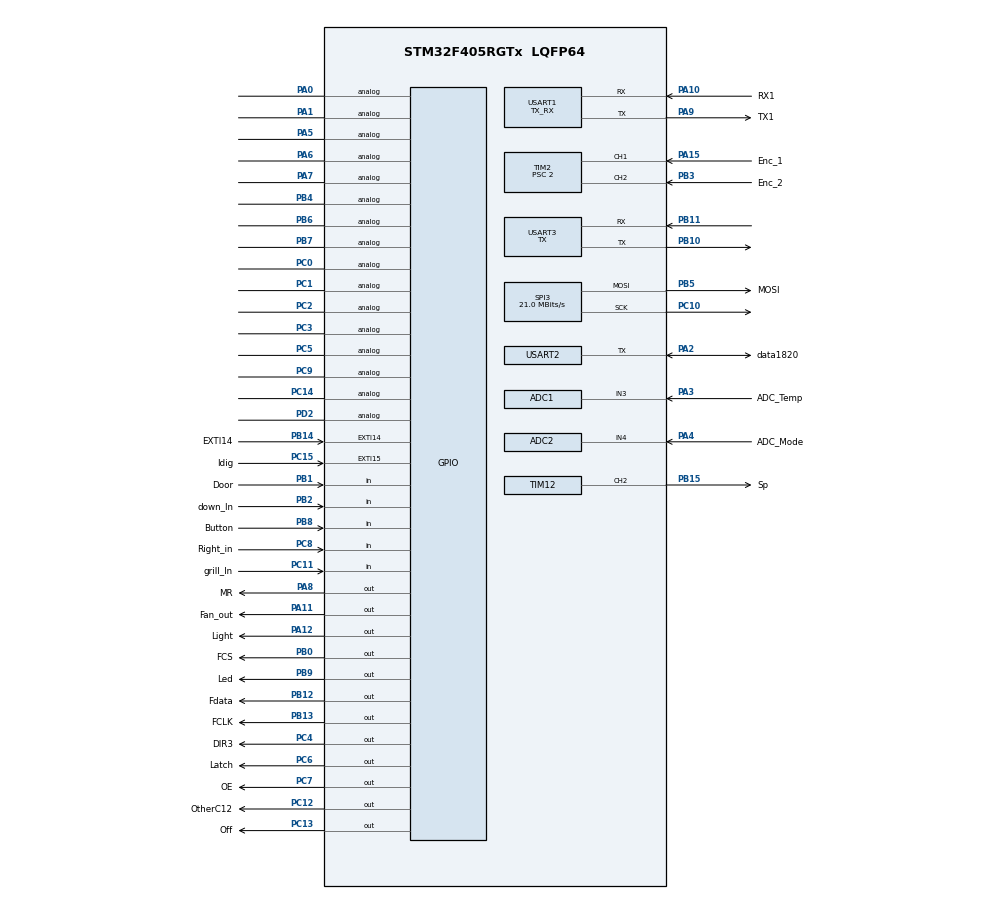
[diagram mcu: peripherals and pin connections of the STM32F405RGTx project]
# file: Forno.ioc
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ADC1.Channel-0\#ChannelRegularConversion=ADC_CHANNEL_3
ADC1.Channel-1\#ChannelRegularConversion=ADC_CHANNEL_VREFINT
ADC1.ClockPrescaler=ADC_CLOCK_SYNC_PCLK_DIV6
ADC1.ContinuousConvMode=DISABLE
ADC1.DMAContinuousRequests=ENABLE
ADC1.EOCSelection=ADC_EOC_SEQ_CONV
ADC1.ExternalTrigConv=ADC_EXTERNALTRIGCONV_T3_TRGO
ADC1.InjNumberOfConversion=0
ADC1.NbrOfConversion=2
ADC1.NbrOfConversionFlag=1
ADC1.Rank-0\#ChannelRegularConversion=1
ADC1.Rank-1\#ChannelRegularConversion=2
ADC1.SamplingTime-0\#ChannelRegularConversion=ADC_SAMPLETIME_84CYCLES
ADC1.SamplingTime-1\#ChannelRegularConversion=ADC_SAMPLETIME_84CYCLES
ADC1.ScanConvMode=ENABLE
ADC1.master=1
ADC2.Channel-3\#ChannelRegularConversion=ADC_CHANNEL_4
ADC2.ClockPrescaler=ADC_CLOCK_SYNC_PCLK_DIV6
ADC2.NbrOfConversionFlag=1
ADC2.Rank-3\#ChannelRegularConversion=1
ADC2.SamplingTime-3\#ChannelRegularConversion=ADC_SAMPLETIME_84CYCLES
ADC2.ScanConvMode=ENABLE
Dma.ADC1.0.Direction=DMA_PERIPH_TO_MEMORY
Dma.ADC1.0.FIFOMode=DMA_FIFOMODE_DISABLE
Dma.ADC1.0.Instance=DMA2_Stream0
Dma.ADC1.0.MemDataAlignment=DMA_MDATAALIGN_WORD
Dma.ADC1.0.MemInc=DMA_MINC_ENABLE
Dma.ADC1.0.Mode=DMA_CIRCULAR
Dma.ADC1.0.PeriphDataAlignment=DMA_PDATAALIGN_WORD
Dma.ADC1.0.PeriphInc=DMA_PINC_DISABLE
Dma.ADC1.0.Priority=DMA_PRIORITY_MEDIUM
Dma.Request0=ADC1
Dma.Request1=USART3_TX
Dma.USART3_TX.1.Direction=DMA_MEMORY_TO_PERIPH
Dma.USART3_TX.1.FIFOMode=DMA_FIFOMODE_DISABLE
Dma.USART3_TX.1.Instance=DMA1_Stream3
Dma.USART3_TX.1.MemDataAlignment=DMA_MDATAALIGN_BYTE
Dma.USART3_TX.1.MemInc=DMA_MINC_ENABLE
Dma.USART3_TX.1.Mode=DMA_NORMAL
Dma.USART3_TX.1.PeriphDataAlignment=DMA_PDATAALIGN_BYTE
Dma.USART3_TX.1.PeriphInc=DMA_PINC_DISABLE
Dma.USART3_TX.1.Priority=DMA_PRIORITY_LOW
Mcu.Family=STM32F4
Mcu.Name=STM32F405RGTx
Mcu.Package=LQFP64
NVIC.DMA1_Stream3_IRQn=true\:3\:3\:true\:false\:true\:false\:true\:true
NVIC.DMA2_Stream0_IRQn=true\:1\:2\:true\:false\:true\:false\:true\:true
NVIC.EXTI15_10_IRQn=true\:2\:2\:true\:false\:true\:true\:true\:true
NVIC.PriorityGroup=NVIC_PRIORITYGROUP_2
NVIC.TIM1_UP_TIM10_IRQn=true\:1\:0\:true\:false\:true\:true\:true\:true
NVIC.TIM2_IRQn=true\:0\:0\:false\:false\:true\:true\:true\:true
NVIC.TIM5_IRQn=true\:2\:3\:true\:false\:true\:true\:true\:true
NVIC.TIM6_DAC_IRQn=true\:2\:1\:true\:false\:true\:true\:true\:true
NVIC.TIM7_IRQn=true\:0\:0\:false\:false\:true\:true\:true\:true
NVIC.USART1_IRQn=true\:2\:0\:true\:false\:true\:true\:true\:true
NVIC.USART2_IRQn=true\:1\:2\:true\:false\:true\:true\:true\:true
NVIC.USART3_IRQn=true\:3\:3\:true\:false\:true\:true\:true\:true
PA0-WKUP.Signal=GPIO_Analog
PA1.Signal=GPIO_Analog
PA10.GPIO_Label=RX1
PA10.Mode=Asynchronous
PA10.Signal=USART1_RX
PA11.GPIO_Label=Fan_out
PA11.GPIO_ModeDefaultOutputPP=GPIO_MODE_OUTPUT_PP
PA11.GPIO_PuPd=GPIO_PULLDOWN
PA11.GPIO_Speed=GPIO_SPEED_FREQ_LOW
PA11.PinState=GPIO_PIN_RESET
PA11.Signal=GPIO_Output
PA12.GPIO_Label=Light
PA12.GPIO_PuPd=GPIO_PULLDOWN
PA12.GPIO_Speed=GPIO_SPEED_FREQ_LOW
PA12.PinState=GPIO_PIN_RESET
PA12.Signal=GPIO_Output
PA13.GPIO_Label=SWDIO
PA13.Mode=Serial_Wire
PA13.Signal=SYS_JTMS-SWDIO
PA14.GPIO_Label=SWCLK
PA14.Mode=Serial_Wire
PA14.Signal=SYS_JTCK-SWCLK
PA15.GPIO_Label=Enc_1
PA15.GPIO_ModeDefaultPP=GPIO_MODE_AF_PP
PA15.GPIO_PuPd=GPIO_NOPULL
PA15.GPIO_Speed=GPIO_SPEED_FREQ_LOW
PA15.Signal=S_TIM2_CH1_ETR
PA2.GPIO_Label=data1820
PA2.Mode=Half_duplex(single_wire_mode)
PA2.Signal=USART2_TX
PA3.GPIO_Label=ADC_Temp
PA3.Signal=ADCx_IN3
PA4.GPIO_Label=ADC_Mode
PA4.Signal=ADCx_IN4
PA5.Signal=GPIO_Analog
PA6.Signal=GPIO_Analog
PA7.Signal=GPIO_Analog
PA8.GPIO_Label=MR
PA8.GPIO_PuPd=GPIO_NOPULL
PA8.GPIO_Speed=GPIO_SPEED_FREQ_MEDIUM
PA8.PinState=GPIO_PIN_RESET
PA8.Signal=GPIO_Output
PA9.GPIO_Label=TX1
PA9.Mode=Asynchronous
PA9.Signal=USART1_TX
PB0.GPIO_Label=FCS
PB0.GPIO_ModeDefaultOutputPP=GPIO_MODE_OUTPUT_OD
PB0.GPIO_PuPd=GPIO_NOPULL
PB0.GPIO_Speed=GPIO_SPEED_FREQ_VERY_HIGH
PB0.PinState=GPIO_PIN_SET
PB0.Signal=GPIO_Output
PB1.GPIO_Label=Door
PB1.Signal=GPIO_Input
PB10.Mode=Asynchronous
PB10.Signal=USART3_TX
PB11.Mode=Asynchronous
PB11.Signal=USART3_RX
PB12.GPIO_Label=Fdata
PB12.GPIO_ModeDefaultOutputPP=GPIO_MODE_OUTPUT_OD
PB12.GPIO_PuPd=GPIO_PULLUP
PB12.GPIO_Speed=GPIO_SPEED_FREQ_VERY_HIGH
PB12.PinState=GPIO_PIN_RESET
PB12.Signal=GPIO_Output
PB13.GPIO_Label=FCLK
PB13.GPIO_ModeDefaultOutputPP=GPIO_MODE_OUTPUT_OD
PB13.GPIO_PuPd=GPIO_NOPULL
PB13.GPIO_Speed=GPIO_SPEED_FREQ_VERY_HIGH
PB13.Signal=GPIO_Output
PB14.GPIO_Label=EXTI14
PB14.Signal=GPXTI14
PB15.GPIO_Label=Sp
PB15.Signal=S_TIM12_CH2
PB2.GPIO_Label=down_In
PB2.Signal=GPIO_Input
PB3.GPIO_Label=Enc_2
PB3.Signal=S_TIM2_CH2
PB4.Signal=GPIO_Analog
PB5.GPIO_Label=MOSI
PB5.Mode=TX_Only_Simplex_Unidirect_Master
PB5.Signal=SPI3_MOSI
PB6.Signal=GPIO_Analog
PB7.Signal=GPIO_Analog
PB8.GPIO_Label=Button
PB8.Signal=GPIO_Input
PB9.GPIO_Label=Led
PB9.Signal=GPIO_Output
PC0.Signal=GPIO_Analog
PC1.Signal=GPIO_Analog
PC10.Mode=TX_Only_Simplex_Unidirect_Master
PC10.Signal=SPI3_SCK
PC11.GPIO_Label=grill_In
PC11.Signal=GPIO_Input
PC12.GPIO_Label=OtherC12
PC12.PinState=GPIO_PIN_SET
PC12.Signal=GPIO_Output
PC13-ANTI_TAMP.GPIO_Label=Off
PC13-ANTI_TAMP.GPIO_PuPd=GPIO_PULLDOWN
PC13-ANTI_TAMP.Signal=GPIO_Output
PC14-OSC32_IN.Signal=GPIO_Analog
PC15-OSC32_OUT.GPIO_Label=Idig
PC15-OSC32_OUT.Signal=GPXTI15
PC2.Signal=GPIO_Analog
PC3.Signal=GPIO_Analog
PC4.GPIO_Label=DIR3
PC4.GPIO_PuPd=GPIO_PULLUP
PC4.GPIO_Speed=GPIO_SPEED_FREQ_HIGH
PC4.PinState=GPIO_PIN_SET
PC4.Signal=GPIO_Output
PC5.Signal=GPIO_Analog
PC6.GPIO_Label=Latch
PC6.GPIO_PuPd=GPIO_NOPULL
PC6.GPIO_Speed=GPIO_SPEED_FREQ_HIGH
PC6.PinState=GPIO_PIN_RESET
PC6.Signal=GPIO_Output
PC7.GPIO_Label=OE
PC7.GPIO_Speed=GPIO_SPEED_FREQ_MEDIUM
PC7.PinState=GPIO_PIN_SET
PC7.Signal=GPIO_Output
PC8.GPIO_Label=Right_in
PC8.Signal=GPIO_Input
PC9.Signal=GPIO_Analog
PD2.Signal=GPIO_Analog
PH0-OSC_IN.Mode=HSE-External-Oscillator
PH0-OSC_IN.Signal=RCC_OSC_IN
PH1-OSC_OUT.Mode=HSE-External-Oscillator
PH1-OSC_OUT.Signal=RCC_OSC_OUT
ProjectManager.HeapSize=0x200
ProjectManager.StackSize=0x400
ProjectManager.TargetToolchain=STM32CubeIDE
RCC.48MHZClocksFreq_Value=84000000
RCC.AHBFreq_Value=168000000
RCC.APB1CLKDivider=RCC_HCLK_DIV4
RCC.APB1Freq_Value=42000000
RCC.APB1TimFreq_Value=84000000
RCC.APB2CLKDivider=RCC_HCLK_DIV2
RCC.APB2Freq_Value=84000000
RCC.APB2TimFreq_Value=168000000
RCC.CortexFreq_Value=168000000
RCC.EnbaleCSS=true
RCC.HCLKFreq_Value=168000000
RCC.HSE_VALUE=8000000
RCC.HSI_VALUE=16000000
RCC.LSE_VALUE=32768
RCC.PLLM=4
RCC.PLLN=168
RCC.PLLSourceVirtual=RCC_PLLSOURCE_HSE
RCC.SYSCLKFreq_VALUE=168000000
RCC.SYSCLKSource=RCC_SYSCLKSOURCE_PLLCLK
RCC.VCOOutputFreq_Value=336000000
SH.ADCx_IN3.0=ADC1_IN3,IN3
SH.ADCx_IN4.0=ADC2_IN4,IN4
SH.S_TIM12_CH2.0=TIM12_CH2,PWM Generation2 CH2
SH.S_TIM2_CH1_ETR.0=TIM2_CH1,Encoder_Interface
SH.S_TIM2_CH2.0=TIM2_CH2,Encoder_Interface
SPI3.BaudRatePrescaler=SPI_BAUDRATEPRESCALER_2
SPI3.CalculateBaudRate=21.0 MBits/s
SPI3.Direction=SPI_DIRECTION_2LINES
SPI3.Mode=SPI_MODE_MASTER
SPI3.VirtualType=VM_MASTER
TIM10.AutoReloadPreload=TIM_AUTORELOAD_PRELOAD_ENABLE
TIM10.Period=99
TIM10.Prescaler=16799
TIM12.AutoReloadPreload=TIM_AUTORELOAD_PRELOAD_ENABLE
TIM12.Channel-PWM\ Generation2\ CH2=TIM_CHANNEL_2
TIM12.Period=999
TIM12.Prescaler=83
TIM12.Pulse-PWM\ Generation2\ CH2=500
TIM2.AutoReloadPreload=TIM_AUTORELOAD_PRELOAD_ENABLE
TIM2.ClockDivision=TIM_CLOCKDIVISION_DIV4
TIM2.CounterMode=TIM_COUNTERMODE_CENTERALIGNED1
TIM2.EncoderMode=TIM_ENCODERMODE_TI12
TIM2.IC1Filter=15
TIM2.IC1Polarity=TIM_ICPOLARITY_FALLING
TIM2.IC1Prescaler=TIM_ICPSC_DIV1
TIM2.IC2Filter=15
TIM2.IC2Polarity=TIM_ICPOLARITY_FALLING
TIM2.Period=240
TIM2.Prescaler=2
TIM2.TIM_MasterOutputTrigger=TIM_TRGO_RESET
TIM2.TIM_MasterSlaveMode=TIM_MASTERSLAVEMODE_DISABLE
TIM3.AutoReloadPreload=TIM_AUTORELOAD_PRELOAD_DISABLE
TIM3.Period=199
TIM3.Prescaler=16799
TIM3.TIM_MasterOutputTrigger=TIM_TRGO_UPDATE
TIM5.Period=999
TIM5.Prescaler=839
TIM6.AutoReloadPreload=TIM_AUTORELOAD_PRELOAD_ENABLE
TIM6.Period=50000
TIM6.Prescaler=33599
TIM6.TIM_MasterOutputTrigger=TIM_TRGO_UPDATE
TIM7.AutoReloadPreload=TIM_AUTORELOAD_PRELOAD_ENABLE
TIM7.Period=999
TIM7.Prescaler=83
TIM7.TIM_MasterOutputTrigger=TIM_TRGO_UPDATE
USART1.Mode=MODE_TX_RX
USART1.VirtualMode=VM_ASYNC
USART1.WordLength=WORDLENGTH_8B
USART2.VirtualMode=VM_ASYNC
USART3.Mode=MODE_TX
USART3.VirtualMode=VM_ASYNC
VP_ADC1_Vref_Input.Mode=IN-Vrefint
VP_TIM10_VS_ClockSourceINT.Mode=Enable_Timer
VP_TIM12_VS_ClockSourceINT.Mode=Internal
VP_TIM3_VS_ClockSourceINT.Mode=Internal
VP_TIM5_VS_ClockSourceINT.Mode=Internal
VP_TIM6_VS_ClockSourceINT.Mode=Enable_Timer
VP_TIM7_VS_ClockSourceINT.Mode=Enable_Timer
board=custom

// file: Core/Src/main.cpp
/* USER CODE BEGIN Header */
/**
 ******************************************************************************
 * @file           : main.c
 * @brief          : Main program body
 ******************************************************************************
 * @attention
 *
 * Copyright (c) 2025 STMicroelectronics.
 * All rights reserved.
 *
 * This software is licensed under terms that can be found in the LICENSE file
 * in the root directory of this software component.
 * If no LICENSE file comes with this software, it is provided AS-IS.
 *
 ******************************************************************************
 */
/* USER CODE END Header */
#include "main.h"
#include "adc.h"
#include "dma.h"
#include "spi.h"
#include "tim.h"
#include "usart.h"
#include "gpio.h"

/* USER CODE BEGIN Includes */
#include "flashdata.hpp"
#include "DS18B20.h"
#include "FryMode.hpp"
#include "Fram.hpp"
#include "Control.hpp"
#include "Heat.hpp"
#include "Button.hpp"
#include "melody_gpio.hpp"
#include "Protection.hpp"
/* USER CODE END Includes */

/* USER CODE BEGIN PV */

vu8 buf_485[21];//Массив для посылки в дисплей
//vu8 buf1_485[20];
/* USER CODE END PV */

void SystemClock_Config(void);

int main(void)
{

  /* USER CODE BEGIN 1 */
//Добавил комментарии
  /* USER CODE END 1 */

  /* MCU Configuration--------------------------------------------------------*/

  /* Reset of all peripherals, Initializes the Flash interface and the Systick. */
  HAL_Init();

  /* Configure the system clock */
  SystemClock_Config();

  /* Initialize all configured peripherals */
  MX_GPIO_Init();
  MX_DMA_Init();
  MX_ADC1_Init();
  MX_TIM2_Init();
  MX_TIM3_Init();
  MX_TIM6_Init();
  MX_USART1_UART_Init();
  MX_USART2_UART_Init();
  MX_TIM10_Init();
  MX_SPI3_Init();
  MX_USART3_UART_Init();
  MX_TIM12_Init();
  MX_ADC2_Init();
  MX_TIM5_Init();
  MX_TIM7_Init();
  /* USER CODE BEGIN 2 */
  HAL_TIM_Base_Stop_IT(&htim7);
	LL_SPI_Enable(SPI3);
	//---------------------Сброс HC595--------------------------------

	GPIOC->BSRR = GPIO_PIN_6; //Latch on
	GPIOC->BSRR = GPIO_PIN_6 << 16U; //Latch off
	GPIOA->BSRR = GPIO_PIN_8; //MR on
	//---------------------------------------------------------------
	HAL_TIM_Base_Start_IT(&htim6);
	HAL_ADC_Start_DMA(&hadc1, Control::adcTemp, 2);
	HAL_Delay(1000); //Без этой паузы не работает восстановление режима приготовления при пропадании питания
	HAL_TIM_Base_Start(&htim3);
	HAL_ADC_Start(&hadc2);
	HAL_TIM_Encoder_Start_IT(&htim2, TIM_CHANNEL_ALL);
	Sensor_init();
	//HAL_NVIC_EnableIRQ(EXTI2_IRQn);
	//HAL_NVIC_EnableIRQ(EXTI15_10_IRQn);
	GPIOC->BSRR = GPIO_PIN_4;	//DIR на передачу
	GPIOA->BSRR = GPIO_PIN_12 << 16U;	//Свет выкл
	//GPIOA->BSRR= GPIO_PIN_8 << 16U;	//HC595 выкл
	//__HAL_DBGMCU_FREEZE_IWDG(); //Останавливаем WatchDog в дебаггере
	TIM2->CNT = 180;
	Protection::Init();
	vu8 fram5rd = Fram::elementFram(5); //Читаем из FRAM
	Button button;
	Control control;
	FryModeLambda fryModeLambda;
	if(fram5rd){
		Control::backInfo();//Восстанавливаем работу
	}
	else{
/*-------------TIMERS - Нужно проверить

 TIM2 - Энкодер
 TIM3 - Прерывание для ADC1
 TIM5 - Защита от длительного времени включенных тенов(эксперимент пока)
 TIM6 - Прерывание для проверки максимальной температуры (10sec)
 TIM7 - Частота звука при переключении режима
 TIM9 - Длина звука для режима Pre
 TIM10- Часы 1 sec
 TIM12- Длина звука при изменении режимов

 -------------GPIO's---------------------------------------------

 A0 - adc_modeCook| B0 - Door     | C7 - Grill   | D2 - EXTI_4
 A1 - adc_temp    | B1 - Music    | C8 - Right
 A2 - adc_t_out   | B2 - EXTI_2   | C9 - Down
 A5 - Fdata       | B3 - Enc_2    | C10- CSK
 A7 - FCLK        | B5 - MOSI     | C12- Button
 A8 - Fan_in      | B8 - CS_595   | C13- Sync
 A9 - TXD1        | B15- Sp
 A10- RXD1
 A12- Ligh
 A13- SWDIO
 A14- SWCLK
 A15- Enc1
 ---------------Заполнение массива UART для отсылки в дисплей----------------
 1 - min          = buf_485[1]
 2 - dec_min      = buf_485[2]
 3 - one_h        = buf_485[3]
 4 - dec_h        = buf_485[4]
 5 - temp1        = buf_485[5]
 6 - temp2        = buf_485[6]
 7 - temp3        = buf_485[7]
 8 - tempset1     = buf_485[8]
 9 - tempset2     = buf_485[9]
 10- tempset3     = buf_485[10]
 11- set          = buf_485[11] - режим
 12- watch        = buf_485[12] - точки в часах
 13- fire         = buf_485[13]
 14- fire_90      = buf_485[14]
 15- fire_180     = buf_485[15]
 16- tmp_plt1     = buf_485[16]
 17- tmp_plt2     = buf_485[17]
 18- mode_2       = buf_485[18] - рамка вокруг часов

 ---------------------------------Fram память---------------------------------------
	0 - Заданная температура
	1 - Номер режима
	2 - Минуты
	3 - Часы
	4 - Направление счета времени
	5 - Сброс во время работы
	6 - Старший байт счетчика минут
	7 - Младший байт счетчика минут
 ------------------------------------------------------------------------------------------*/
  /* USER CODE END 2 */

  /* Infinite loop */
  /* USER CODE BEGIN WHILE */
//HAL_TIM_Base_Start_IT(&htim7);
HAL_Delay(500);
//HAL_TIM_Base_Stop_IT(&htim7);
GPIOB->BSRR = GPIO_PIN_15 << 16U; //Спикер выкл
//Button button;
//Control control;
//FryModeLambda fryModeLambda;
//MelodyPlayer::playPodmoskovnye();
EXTI->IMR &= ~EXTI_IMR_MR15;//Запрещаем прерывание EXTI15(импульсы тока)
GPIOB->BSRR = GPIO_PIN_9;//Led
GPIOB->BSRR = GPIO_PIN_15 << 16U; //Спикер выкл
//GPIOC->BSRR = GPIO_PIN_7 << 16U; // HC595 вкл
//MelodyPlayer::playPodmoskovnye();
	}

while (1) {
			uint16_t modeCookAveADC = control.readAdc(1);//Читаем задатчик режима
			fryModeLambda.ModeSetLambda(modeCookAveADC);//Задаем режим приготовления (вызов лямбды по индексу)
			Fram::elementFram(1, modeCookAveADC);
     		Button::encCount();//Задаем температуру
			Fram::elementFram(0);
			if(Fram::elementFram(1) != 0){//Если режим не Off ...
				button.scanButton();//... сканируем кнопку и ...
				button.executeButtonRegim(button.buttonRegim);//...выбираем режим кнопки
			}
			Heat::setOutCooler(); //Вкл-выкл. внешнего кулера
			buf_485[11] = modeCookAveADC;
			buf_485[0] = 151;
			buf_485[20] = 151;
			if (huart3.gState == HAL_UART_STATE_READY) {
			    HAL_UART_Transmit_DMA(&huart3, buf_485, 21);
			}
			//HAL_UART_Transmit_DMA(&huart3, buf_485, 20);//Передаем на дисплей
			HAL_Delay(100);			//Без этой паузы дисплей не успевает
			//HAL_IWDG_Refresh(&hiwdg); //Обнуляем watchdog
    /* USER CODE END WHILE */

}
}

void SystemClock_Config(void)
{
  LL_FLASH_SetLatency(LL_FLASH_LATENCY_5);
  while(LL_FLASH_GetLatency()!= LL_FLASH_LATENCY_5)
  {
  }
  LL_PWR_SetRegulVoltageScaling(LL_PWR_REGU_VOLTAGE_SCALE1);
  LL_RCC_HSE_Enable();

   /* Wait till HSE is ready */
  while(LL_RCC_HSE_IsReady() != 1)
  {

  }
  LL_RCC_HSE_EnableCSS();
  LL_RCC_PLL_ConfigDomain_SYS(LL_RCC_PLLSOURCE_HSE, LL_RCC_PLLM_DIV_4, 168, LL_RCC_PLLP_DIV_2);
  LL_RCC_PLL_Enable();

   /* Wait till PLL is ready */
  while(LL_RCC_PLL_IsReady() != 1)
  {

  }
  while (LL_PWR_IsActiveFlag_VOS() == 0)
  {
  }
  LL_RCC_SetAHBPrescaler(LL_RCC_SYSCLK_DIV_1);
  LL_RCC_SetAPB1Prescaler(LL_RCC_APB1_DIV_4);
  LL_RCC_SetAPB2Prescaler(LL_RCC_APB2_DIV_2);
  LL_RCC_SetSysClkSource(LL_RCC_SYS_CLKSOURCE_PLL);

   /* Wait till System clock is ready */
  while(LL_RCC_GetSysClkSource() != LL_RCC_SYS_CLKSOURCE_STATUS_PLL)
  {

  }
  LL_SetSystemCoreClock(168000000);

   /* Update the time base */
  if (HAL_InitTick (TICK_INT_PRIORITY) != HAL_OK)
  {
    Error_Handler();
  }
}

void Error_Handler(void)
{
__disable_irq();
while (1) {
}
}
